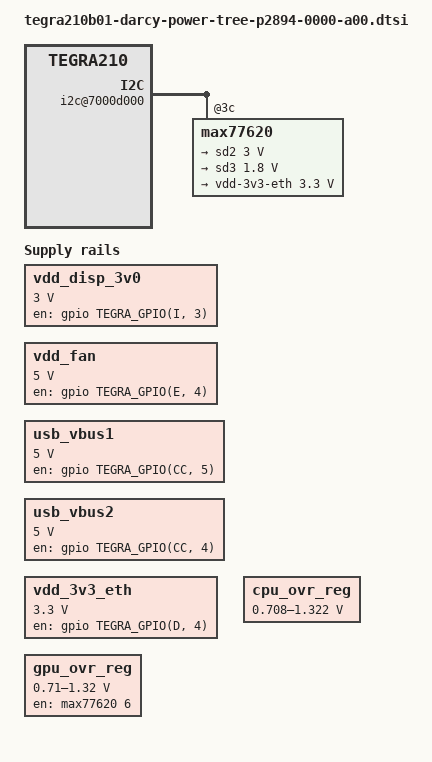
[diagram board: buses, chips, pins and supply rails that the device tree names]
/*
 * Copyright (c) 2015-2018, NVIDIA CORPORATION.  All rights reserved.
 *
 * This program is free software; you can redistribute it and/or modify
 * it under the terms of the GNU General Public License as published by
 * the Free Software Foundation; either version 2 of the License, or
 * (at your option) any later version.
 *
 * This program is distributed in the hope that it will be useful, but WITHOUT
 * ANY WARRANTY; without even the implied warranty of MERCHANTABILITY or
 * FITNESS FOR A PARTICULAR PURPOSE.  See the GNU General Public License for
 * more details.
 *
 * You should have received a copy of the GNU General Public License along
 * along with this program. If not, see <http://www.gnu.org/licenses/>.
 */
#include "ers-platforms/tegra210b01-ers-pmic-e2175-1122-a00.dtsi"
#include <t210-common-platforms/tegra210-ers-fixed-e2174-1101-a00.dtsi>
#include "ers-platforms/tegra210b01-ers-pmic-e2176-1001-a00.dtsi"

/ {
	i2c@7000d000 {
		max77620: max77620@3c {
			maxim,enable-rtc2-alarm-wakeup;
			low-battery-monitor {
				maxim,low-battery-shutdown-enable;
			};

			max77620_default: pinmux@0 {
				pin_gpio1 {
					maxim,active-fps-source = <MAX77620_FPS_SRC_NONE>;
				};

				pin_gpio2 {
					maxim,active-fps-source = <MAX77620_FPS_SRC_0>;
				};

				pin_gpio3 {
					maxim,active-fps-source = <MAX77620_FPS_SRC_0>;
					maxim,fps-power-up-period = <4>;
					maxim,fps-power-down-period = <4>;
				};
			};

			watchdog {
				dt-override-status-odm-data = <0x00020000 0x00020000>;
			};

			regulators {
				sd0 {
					maxim,active-fps-source = <MAX77620_FPS_SRC_1>;
					maxim,fps-power-up-period = <1>;
					maxim,fps-power-down-period = <7>;
					regulator-enable-ramp-delay = <146>;
					regulator-disable-ramp-delay = <4080>;
					regulator-ramp-delay = <27500>;
					regulator-ramp-delay-scale = <300>;
				};

				sd1 {
					maxim,active-fps-source = <MAX77620_FPS_SRC_0>;
					maxim,fps-power-up-period = <5>;
					maxim,fps-power-down-period = <3>;
					regulator-enable-ramp-delay = <130>;
					regulator-disable-ramp-delay = <145800>;
					regulator-ramp-delay = <27500>;
					regulator-ramp-delay-scale = <300>;
				};

				sd2 {
					maxim,active-fps-source = <MAX77620_FPS_SRC_1>;
					maxim,suspend-fps-source = <MAX77620_FPS_SRC_NONE>;
					maxim,fps-power-up-period = <2>;
					maxim,fps-power-down-period = <1>;
					regulator-enable-ramp-delay = <176>;
					regulator-disable-ramp-delay = <32000>;
					regulator-ramp-delay = <27500>;
					regulator-ramp-delay-scale = <350>;
					regulator-min-microvolt = <3000000>;
					regulator-max-microvolt = <3000000>;
				};

				sd3 {
					maxim,active-fps-source = <MAX77620_FPS_SRC_0>;
					maxim,fps-power-up-period = <3>;
					maxim,fps-power-down-period = <5>;
					regulator-enable-ramp-delay = <242>;
					regulator-disable-ramp-delay = <118000>;
					regulator-ramp-delay = <27500>;
					regulator-ramp-delay-scale = <360>;
					regulator-min-microvolt = <1800000>;
					regulator-max-microvolt = <1800000>;
				};

				ldo0 {
					maxim,active-fps-source = <MAX77620_FPS_SRC_NONE>;
					regulator-enable-ramp-delay = <26>;
					regulator-disable-ramp-delay = <626>;
					regulator-ramp-delay = <100000>;
					regulator-ramp-delay-scale = <200>;
				};

				ldo1 {
					maxim,active-fps-source = <MAX77620_FPS_SRC_NONE>;
					regulator-enable-ramp-delay = <22>;
					regulator-disable-ramp-delay = <630>;
					regulator-ramp-delay = <100000>;
					regulator-ramp-delay-scale = <200>;
				};

				ldo2 {
					maxim,active-fps-source = <MAX77620_FPS_SRC_NONE>;
					regulator-enable-ramp-delay = <62>;
					regulator-disable-ramp-delay = <650>;
					regulator-ramp-delay = <100000>;
					regulator-ramp-delay-scale = <200>;
				};

				ldo3 {
					regulator-name = "vdd-3v3-eth";
					regulator-min-microvolt = <3300000>;
					regulator-max-microvolt = <3300000>;
					regulator-always-on;
					regulator-boot-on;
					regulator-enable-ramp-delay = <50>;
					regulator-disable-ramp-delay = <1110>;
					regulator-ramp-delay = <100000>;
					regulator-ramp-delay-scale = <200>;
					maxim,active-fps-source = <MAX77620_FPS_SRC_NONE>;
				};

				ldo4 {
					maxim,active-fps-source = <MAX77620_FPS_SRC_0>;
					maxim,fps-power-up-period = <1>;
					maxim,fps-power-down-period = <7>;
					regulator-enable-ramp-delay = <22>;
					regulator-disable-ramp-delay = <610>;
					regulator-ramp-delay = <100000>;
					regulator-ramp-delay-scale = <200>;
					regulator-disable-active-discharge;
				};

				ldo5 {
					maxim,active-fps-source = <MAX77620_FPS_SRC_NONE>;
					regulator-enable-ramp-delay = <62>;
					regulator-disable-ramp-delay = <640>;
					regulator-ramp-delay = <100000>;
					regulator-ramp-delay-scale = <200>;
					/delete-property/ regulator-boot-on;
					/delete-property/ regulator-always-on;
				};

				ldo6 {
					maxim,active-fps-source = <MAX77620_FPS_SRC_NONE>;
					regulator-enable-ramp-delay = <36>;
					regulator-disable-ramp-delay = <674>;
					regulator-ramp-delay = <100000>;
					regulator-ramp-delay-scale = <200>;
					/delete-property/ regulator-boot-on;
					/delete-property/ regulator-always-on;
				};

				ldo7 {
					maxim,active-fps-source = <MAX77620_FPS_SRC_1>;
					maxim,suspend-fps-source = <MAX77620_FPS_SRC_NONE>;
					maxim,fps-power-up-period = <2>;
					maxim,fps-power-down-period = <1>;
					regulator-enable-ramp-delay = <24>;
					regulator-disable-ramp-delay = <2768>;
					regulator-ramp-delay = <100000>;
					regulator-ramp-delay-scale = <200>;
				};

				ldo8 {
					maxim,active-fps-source = <MAX77620_FPS_SRC_1>;
					maxim,fps-power-up-period = <6>;
					maxim,fps-power-down-period = <1>;
					regulator-enable-ramp-delay = <22>;
					regulator-disable-ramp-delay = <1160>;
					regulator-ramp-delay = <100000>;
					regulator-ramp-delay-scale = <200>;
				};
			};
		};
	};

	regulators {
		regulator@1 {
			regulator-enable-ramp-delay = <160>;
			regulator-disable-ramp-delay = <10000>;
		};

		regulator@2 {
			regulator-always-on;
			regulator-min-microvolt = <1200000>;
			regulator-max-microvolt = <1200000>;
			regulator-enable-ramp-delay = <240>;
			regulator-disable-ramp-delay = <11340>;
		};

		regulator@4 {
			regulator-enable-ramp-delay = <472>;
			regulator-disable-ramp-delay = <4880>;
		};

		regulator@6 {
			regulator-enable-ramp-delay = <3090>;
		};

		regulator@7 {
			regulator-enable-ramp-delay = <468>;
			regulator-disable-ramp-delay = <13000>;
		};

		vdd_disp_3v0: regulator@12 {
			compatible = "regulator-fixed-sync";
			reg = <12>;
			regulator-name = "vdd-disp-3v0";
			regulator-min-microvolt = <3000000>;
			regulator-max-microvolt = <3000000>;
			gpio = <&gpio TEGRA_GPIO(I, 3) 0>;
			regulator-always-on;
			enable-active-high;
			regulator-enable-ramp-delay = <232>;
		};

		vdd_fan: regulator@13 {
			compatible = "regulator-fixed-sync";
			reg = <13>;
			regulator-name = "vdd-fan";
			regulator-min-microvolt = <5000000>;
			regulator-max-microvolt = <5000000>;
			gpio = <&gpio TEGRA_GPIO(E, 4) 0>;
			enable-active-high;
			regulator-enable-ramp-delay = <284>;
			regulator-disable-ramp-delay = <6200>;
		};

		usb_vbus1: regulator@14 {
			compatible = "regulator-fixed-sync";
			reg = <14>;
			regulator-name = "usb-vbus1";
			regulator-min-microvolt = <5000000>;
			regulator-max-microvolt = <5000000>;
			gpio = <&gpio TEGRA_GPIO(CC, 5) 0>;
			enable-active-high;
			gpio-open-drain;
		};

		usb_vbus2: regulator@15 {
			compatible = "regulator-fixed-sync";
			reg = <15>;
			regulator-name = "usb-vbus2";
			regulator-min-microvolt = <5000000>;
			regulator-max-microvolt = <5000000>;
			gpio = <&gpio TEGRA_GPIO(CC, 4) 0>;
			enable-active-high;
			gpio-open-drain;
		};

		vdd_3v3_eth: regulator@16 {
			compatible = "regulator-fixed-sync";
			reg = <16>;
			regulator-name = "vdd-3v3-eth-a02";
			regulator-min-microvolt = <3300000>;
			regulator-max-microvolt = <3300000>;
			gpio = <&gpio TEGRA_GPIO(D, 4) 0>;
			regulator-always-on;
			regulator-boot-on;
			enable-active-high;
			gpio-open-drain;
		};
	};

	i2c@7000c500 {
		battery-charger@6b {
			status = "disabled";
		};
	};

	i2c@546c0000 {
		bus-pullup-supply = <&battery_reg>;
	};

	efuse@7000f800 {
		vpp_fuse-supply = <&max77620_sd3>;
	};

	host1x {
		/* tegradc.0 */
		dc@54200000 {
			avdd_hdmi-supply = <&max77620_ldo8>;
			avdd_hdmi_pll-supply = <&max77620_sd3>;
			vdd_hdmi_5v0-supply = <&vdd_hdmi>;
		};

		vi {
			avdd_dsi_csi-supply = <&max77620_gpio7>;
		};
	};

	sound {
		ldoen-supply = <&vdd_sys_boost>;
		spkvdd-supply = <&vdd_sys_boost>;
		dbvdd-supply = <&vdd_sys_boost>;
		dmicvdd-supply = <&max77620_sd3>;
	};

	xusb@70090000 {
		hvdd_usb-supply = <&vdd_3v3>;
		avdd_pll_utmip-supply = <&max77620_sd3>;
		avddio_usb-supply = <&max77620_ldo1>;
		avddio_pll_uerefe-supply = <&max77620_ldo7>;
	};

	xudc@700d0000 {
		hvdd_usb-supply = <&vdd_3v3>;
		avdd_pll_utmip-supply = <&max77620_sd3>;
		avddio_usb-supply = <&max77620_ldo1>;
	};

	xotg {
		usb_vbus-supply = <&usb_vbus1>;
	};

#if TEGRA_XUSB_PADCONTROL_VERSION >= DT_VERSION_2
	xusb_padctl@7009f000 {
		vddio-hsic-supply = <&max77620_ldo0>;
		avdd_pll_uerefe-supply = <&max77620_ldo7>;
		hvdd_pex_pll_e-supply = <&max77620_sd3>;
		dvdd_pex_pll-supply = <&max77620_ldo1>;
		hvddio_pex-supply = <&max77620_sd3>;
		dvddio_pex-supply = <&max77620_ldo1>;

		ports {
			usb2-0 {
				vbus-supply = <&usb_vbus1>;
			};
			usb2-2 {
				vbus-supply = <&usb_vbus2>;
			};
		};
	};
#endif

	pinctrl@7009f000 {
		vbus-0-supply = <&usb_vbus1>;
		vbus-2-supply = <&usb_vbus2>;
		avdd_pll_uerefe-supply = <&max77620_ldo7>;
		hvdd_pex_pll_e-supply = <&max77620_sd3>;
		dvdd_pex_pll-supply = <&max77620_ldo1>;
		hvddio_pex-supply = <&max77620_sd3>;
		dvddio_pex-supply = <&max77620_ldo1>;
	};

	sdhci@700b0600 {
		vqmmc-supply = <&max77620_sd3>; /* SDMMC4 for EMMC on loki */
		vmmc-supply = <&vdd_3v3>;
	};

	sdhci@700b0400 {
		vqmmc-supply = <&max77620_sd3>; /* SDMMC3 for 2nd Wifi on loki */
		vmmc-supply = <&vdd_3v3>; /* SDMMC3 no stuff for full size SD on foster */
	};

	sdhci@700b0200 {
		vqmmc-supply = <&max77620_sd3>; /* SDMMC2 for Wifi on loki */
		vmmc-supply = <&vdd_3v3>;
	};

	sdhci@700b0000 {
		vqmmc-supply = <&max77620_ldo2>; /* SDMMC1 for SD card on loki */
		vmmc-supply = <&en_vdd_sd>;
	};

	sata@70020000 {
		hvdd_sata-supply = <&max77620_sd3>;
		hvdd_pex_pll_e-supply = <&max77620_sd3>;
		l0_hvddio_sata-supply = <&max77620_sd3>;
		l0_dvddio_sata-supply = <&max77620_ldo8>;
		dvdd_sata_pll-supply = <&max77620_ldo8>;
	};

	bluedroid_pm {
		avdd-supply = <&battery_reg>;
		dvdd-supply = <&max77620_sd3>;
	};

	pwm-fan {
		vdd-fan-supply = <&vdd_fan>;
	};

	pmc-iopower {
		iopower-sys-supply = <&max77620_sd3>;
		iopower-uart-supply = <&max77620_sd3>;
		iopower-audio-supply = <&max77620_sd3>;
		iopower-cam-supply = <&max77620_sd3>;
		iopower-pex-ctrl-supply = <&max77620_sd3>;
		iopower-sdmmc1-supply = <&max77620_ldo2>;
		iopower-sdmmc3-supply = <&max77620_sd3>;
		iopower-sdmmc4-supply = <&max77620_sd3>;
		iopower-audio-hv-supply = <&max77620_sd3>;
		iopower-debug-supply = <&max77620_sd3>;
		iopower-dmic-supply = <&max77620_sd3>;
		iopower-gpio-supply = <&max77620_sd3>;
		iopower-spi-supply = <&max77620_sd3>;
		iopower-spi-hv-supply = <&max77620_sd3>;
		iopower-sdmmc2-supply = <&max77620_sd3>;
		iopower-dp-supply = <&max77620_sd3>;
	};

	pmc@7000e400 {
		bootrom-commands {
			reset-commands {
				nvidia,command-retries-count = <2>;
				nvidia,delay-between-commands-us = <10>;
				nvidia,wait-before-start-bus-clear-us = <10>;
				#address-cells = <1>;
				#size-cells = <0>;
				commands@4-003c {
					nvidia,command-names = "pmic-rails";
					reg = <0x3c>;
					nvidia,enable-8bit-register;
					nvidia,enable-8bit-data;
					nvidia,controller-type-i2c;
					nvidia,controller-id = <4>;
					nvidia,enable-controller-reset;
					nvidia,write-commands = <0x00000016 0x00000020>;
				};
			};
			power-off-commands {
				nvidia,command-retries-count = <2>;
				nvidia,delay-between-commands-us = <10>;
				nvidia,wait-before-start-bus-clear-us = <10>;
				#address-cells = <1>;
				#size-cells = <0>;
				commands@4-003c {
					nvidia,command-names = "pmic-rails";
					reg = <0x3c>;
					nvidia,enable-8bit-register;
					nvidia,enable-8bit-data;
					nvidia,controller-type-i2c;
					nvidia,controller-id = <4>;
					nvidia,enable-controller-reset;
					nvidia,write-commands = <0x3B 0x01
								0x42 0x5B
								0x41 0xF8>;
				};
			};
		};
	};

	clock@70110000 {
		status = "okay";
		nvidia,pwm-to-pmic;
		nvidia,init-uv = <1000000>;
		nvidia,sample-rate = <25000>;
		nvidia,droop-ctrl = <0x00000f00>;
		nvidia,force-mode = <1>;
		nvidia,cf = <6>;
		nvidia,ci = <0>;
		nvidia,cg = <2>;
		nvidia,idle-override;
		nvidia,one-shot-calibrate;
		nvidia,pwm-period = <2500>; /* 2.5us */
		pinctrl-names = "dvfs_pwm_enable", "dvfs_pwm_disable";
		pinctrl-0 = <&dvfs_pwm_active_state>;
		pinctrl-1 = <&dvfs_pwm_inactive_state>;
		nvidia,align-offset-uv = <708000>;
		nvidia,align-step-uv = <19200>;
	};

	pwm_regulators {
		cpu_ovr_reg: pwm-regulator@0 {
			status = "okay";
			reg = <0>;
			compatible = "pwm-regulator";
			pwms = <&tegra_pwm_dfll 0 2500>;
			regulator-name = "vdd-cpu";
			regulator-min-microvolt = <708000>;
			regulator-max-microvolt = <1322400>;
			regulator-always-on;
			regulator-boot-on;
			voltage-table =
				<708000 0>, <727200 1>, <746400 2>,
				<765600 3>, <784800 4>, <804000 5>,
				<823200 6>, <842400 7>, <861600 8>,
				<880800 9>, <900000 10>, <919200 11>,
				<938400 12>, <957600 13>, <976800 14>,
				<996000 15>, <1015200 16>, <1034400 17>,
				<1053600 18>, <1072800 19>, <1092000 20>,
				<1111200 21>, <1130400 22>, <1149600 23>,
				<1168800 24>, <1188000 25>, <1207200 26>,
				<1226400 27>, <1245600 28>, <1264800 29>,
				<1284000 30>, <1303200 31>, <1322400 32>;
		};

		gpu_ovr_reg: pwm-regulator@1 {
			status = "okay";
			reg = <1>;
			compatible = "pwm-regulator";
			pwms = <&tegra_pwm 1 8000>;
			regulator-name = "vdd-gpu";
			regulator-min-microvolt = <710000>;
			regulator-max-microvolt = <1320000>;
			regulator-init-microvolt = <1000000>;
			regulator-n-voltages = <62>;
			regulator-enable-ramp-delay = <2000>;
			enable-gpio = <&max77620 6 0>;
			regulator-settling-time-us = <160>;
		};

	};
};
